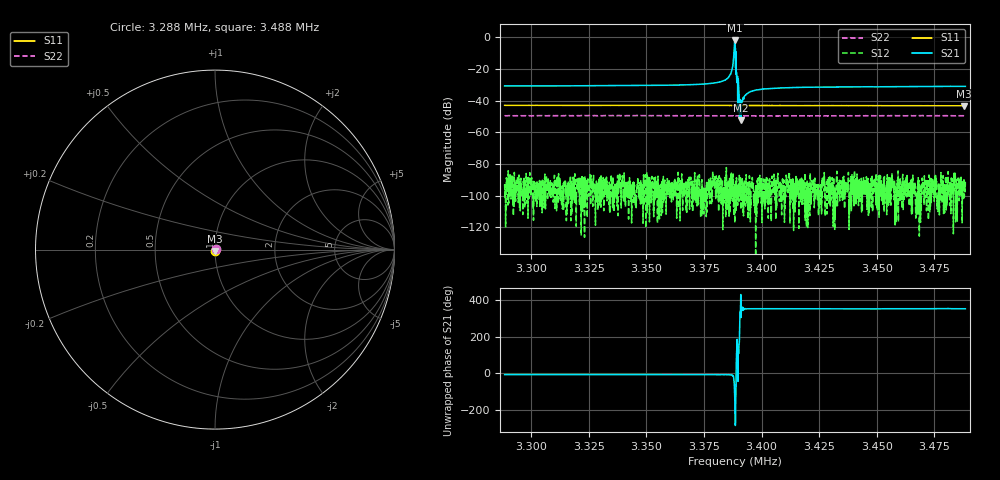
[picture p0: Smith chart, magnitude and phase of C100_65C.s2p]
# Hz S dB R 50.000
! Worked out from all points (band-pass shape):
!   6401 points, 3.288 MHz to 3.488 MHz, reference 50 ohm
!   highest |S21| = -1.89 dB at 3.388 MHz (marker M1); lowest = -52.5 dB at 3.391 MHz (marker M2)
!   |S21| within 3 dB of the highest: 3.388206 MHz to 3.388475 MHz (269.5 Hz wide, 0.00795 % of centre)
!   lowest |S11| = -43.2 dB at 3.488 MHz (marker M3), VSWR 1.01, Z = 49.9 - j0.687 ohm
!   |S11| at or under -10 dB: start of sweep to end of sweep
!   |S22| runs from -50.0 to -49.3 dB; largest |S21 - S12| = 0.8
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3288438  -42.86 -93.9  -30.66 -7.1  -92.84 -6.0  -49.50 23.7
3321782  -42.88 -93.8  -30.55 -7.2  -98.26 -163.6  -49.34 24.1
3355126  -42.90 -93.7  -30.26 -7.3  -95.56 67.1  -49.40 23.3
3373876  -42.93 -94.0  -29.53 -7.2  -95.16 -66.0  -49.47 23.6
3382626  -42.98 -94.0  -27.76 -7.4  -105.86 110.8  -49.55 24.2
3385876  -42.96 -94.0  -24.67 -7.7  -108.75 -139.5  -49.52 24.2
3386782  -42.98 -94.0  -22.07 -8.7  -101.46 53.9  -49.55 23.5
3387219  -43.01 -94.1  -19.60 -11.0  -100.42 103.7  -49.54 23.7
3387782  -42.99 -94.2  -13.65 -18.4  -97.31 73.4  -49.54 23.6
3388438  -42.96 -94.0  -1.89 -170.2  -92.96 -149.8  -49.43 27.6
3389126  -42.97 -93.9  -24.89 107.4  -89.64 152.3  -49.52 24.1
3389626  -43.00 -94.0  -46.72 32.4  -102.01 95.6  -49.51 24.2
3390094  -42.99 -94.2  -33.55 130.6  -98.78 49.4  -49.49 24.3
3391000  -43.02 -94.2  -52.46 22.3  -98.12 56.8  -49.53 24.2
3391313  -43.00 -94.0  -40.33 -0.1  -103.96 10.4  -49.48 24.7
3392219  -43.00 -94.1  -38.79 -10.3  -104.26 93.5  -49.50 24.1
3393438  -42.97 -94.1  -35.71 -9.0  -102.17 46.6  -49.52 24.4
3397094  -43.00 -94.0  -33.43 -7.4  -105.11 166.8  -49.60 24.8
3421782  -43.09 -94.0  -31.42 -7.5  -91.25 20.1  -49.52 24.7
3455126  -43.10 -94.0  -31.14 -7.6  -91.58 44.5  -49.39 24.4
3487813  -43.23 -93.9  -30.92 -7.6  -89.97 43.7  -49.61 24.1
3488438  -43.14 -94.1  -30.92 -7.6  -91.46 65.6  -49.45 24.1
